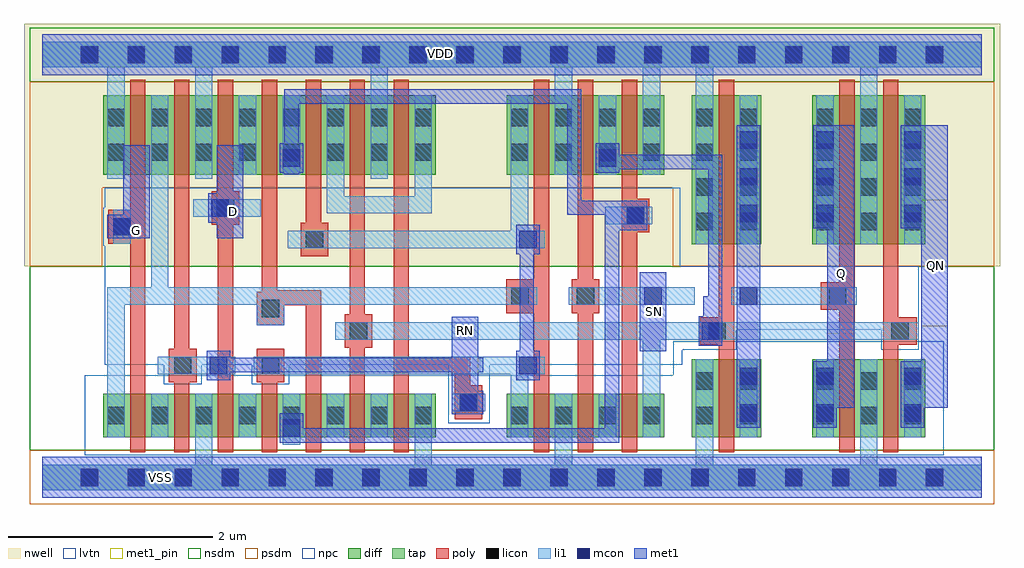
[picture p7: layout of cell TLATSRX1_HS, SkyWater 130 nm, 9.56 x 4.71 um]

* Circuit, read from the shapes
.subckt TLATSRX1_HS D G Q QN RN SN VDD VSS
XM1 n1 G n2 VSS sky130_fd_pr__nfet_01v8_lvt w=0.425 l=0.15
XM2 VSS RN n1 VSS sky130_fd_pr__nfet_01v8_lvt w=0.425 l=0.15
XM3 n3 D VSS VSS sky130_fd_pr__nfet_01v8_lvt w=0.425 l=0.15
XM4 n4 n5 n3 VSS sky130_fd_pr__nfet_01v8_lvt w=0.425 l=0.15
XM5 n6 n2 n4 VSS sky130_fd_pr__nfet_01v8_lvt w=0.425 l=0.15
XM6 n7 n8 n6 VSS sky130_fd_pr__nfet_01v8_lvt w=0.425 l=0.15
XM7 VSS RN n7 VSS sky130_fd_pr__nfet_01v8_lvt w=0.425 l=0.15
XM8 VSS n2 n5 VSS sky130_fd_pr__nfet_01v8_lvt w=0.425 l=0.15
XM9 n9 SN VSS VSS sky130_fd_pr__nfet_01v8_lvt w=0.425 l=0.15
XM10 n8 n4 n9 VSS sky130_fd_pr__nfet_01v8_lvt w=0.425 l=0.15
XM11 n10 n8 VSS VSS sky130_fd_pr__nfet_01v8_lvt w=0.76 l=0.15
XM12 VSS n10 Q VSS sky130_fd_pr__nfet_01v8_lvt w=0.76 l=0.15
XM13 QN n8 VSS VSS sky130_fd_pr__nfet_01v8_lvt w=0.76 l=0.15
XM14 n2 G VDD VDD sky130_fd_pr__pfet_01v8 w=0.78 l=0.15
XM15 VDD RN n2 VDD sky130_fd_pr__pfet_01v8 w=0.78 l=0.15
XM16 n11 D VDD VDD sky130_fd_pr__pfet_01v8 w=0.78 l=0.15
XM17 n4 n2 n11 VDD sky130_fd_pr__pfet_01v8 w=0.78 l=0.15
XM18 n12 n5 n4 VDD sky130_fd_pr__pfet_01v8 w=0.78 l=0.15
XM19 VDD n8 n12 VDD sky130_fd_pr__pfet_01v8 w=0.78 l=0.15
XM20 n12 RN VDD VDD sky130_fd_pr__pfet_01v8 w=0.78 l=0.15
XM21 VDD n2 n5 VDD sky130_fd_pr__pfet_01v8 w=0.78 l=0.15
XM22 n8 SN VDD VDD sky130_fd_pr__pfet_01v8 w=0.78 l=0.15
XM23 VDD n4 n8 VDD sky130_fd_pr__pfet_01v8 w=0.78 l=0.15
XM24 n10 n8 VDD VDD sky130_fd_pr__pfet_01v8 w=1.46 l=0.15
XM25 VDD n10 Q VDD sky130_fd_pr__pfet_01v8 w=1.46 l=0.15
XM26 QN n8 VDD VDD sky130_fd_pr__pfet_01v8 w=1.46 l=0.15
.ends

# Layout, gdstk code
from math import pi, radians
import gdstk
lib = gdstk.Library(unit=1e-6, precision=1e-09)
def R(c, l, rs):  # rectangles x0, y0, x1, y1
    for r in rs: c.add(gdstk.rectangle(r[:2], r[2:], *l))
def A(c, l, x, y, w, h, nx, ny, dx, dy):  # array of equal rectangles
    R(c, l, [(x+i*dx, y+j*dy, x+i*dx+w, y+j*dy+h) for i in range(nx) for j in range(ny)])
def P(c, l, *ps):  # polygons
    for p in ps: c.add(gdstk.Polygon(p, *l))
nwell = (64, 20)
diff = (65, 20)
tap = (65, 44)
poly = (66, 20)
licon = (66, 44)
li1 = (67, 20)
mcon = (67, 44)
met1_pin = (68, 16)
met1 = (68, 20)
nsdm = (93, 44)
psdm = (94, 20)
npc = (95, 20)
lvtn = (125, 44)

pyl1con_c_cdns_758729172 = lib.new_cell('PYL1CON_C_CDNS_758729172862')
R(pyl1con_c_cdns_758729172, poly, [(-0.135,-0.165,0.135,0.165)])
R(pyl1con_c_cdns_758729172, licon, [(-0.085,-0.085,0.085,0.085)])
R(pyl1con_c_cdns_758729172, npc, [(-0.185,-0.185,0.185,0.185)])

l1m1_c_cdns_758729172861 = lib.new_cell('L1M1_C_CDNS_758729172861')
R(l1m1_c_cdns_758729172861, li1, [(-0.085,-0.165,0.085,0.165)])
R(l1m1_c_cdns_758729172861, mcon, [(-0.085,-0.085,0.085,0.085)])
R(l1m1_c_cdns_758729172861, met1, [(-0.115,-0.145,0.115,0.145)])

l1m1_c_cdns_758729172860 = lib.new_cell('L1M1_C_CDNS_758729172860')
R(l1m1_c_cdns_758729172860, li1, [(-0.165,-0.085,0.165,0.085)])
R(l1m1_c_cdns_758729172860, mcon, [(-0.085,-0.085,0.085,0.085)])
R(l1m1_c_cdns_758729172860, met1, [(-0.115,-0.145,0.115,0.145)])

c_l1m1_c_cdns_758729172861 = lib.new_cell('L1M1_C_CDNS_7587291728613')
R(c_l1m1_c_cdns_758729172861, li1, [(-0.085,-0.525,0.085,0.525)])
A(c_l1m1_c_cdns_758729172861, mcon, -0.085, -0.445, 0.17, 0.17, 1, 3, 0, 0.36)
R(c_l1m1_c_cdns_758729172861, met1, [(-0.115,-0.505,0.115,0.505)])

l1m1_c_cdns_758729172864 = lib.new_cell('L1M1_C_CDNS_758729172864')
R(l1m1_c_cdns_758729172864, li1, [(-0.085,-0.345,0.085,0.345)])
R(l1m1_c_cdns_758729172864, mcon, [(-0.085,-0.265,0.085,-0.095), (-0.085,0.095,0.085,0.265)])
R(l1m1_c_cdns_758729172864, met1, [(-0.115,-0.325,0.115,0.325)])

tlatsrx1_hs = lib.new_cell('TLATSRX1_HS')
R(tlatsrx1_hs, nwell, [(-0.18,2.07,9.38,4.445)])
R(tlatsrx1_hs, diff, [(0.595,0.395,3.855,0.82), (4.55,0.395,6.09,0.82), (6.36,0.395,7.04,1.155), (7.54,0.395,8.65,1.155), (6.36,2.285,7.04,3.745), (7.54,2.285,8.65,3.745), (0.595,2.965,3.855,3.745), (4.55,2.965,6.09,3.745)])
A(tlatsrx1_hs, poly, 4.815, 0.245, 0.15, 3.65, 3, 1, 0.43, 0)
R(tlatsrx1_hs, poly, [(0.86,0.245,1.01,3.895), (1.29,0.245,1.44,0.97), (1.72,0.245,1.87,3.895), (2.15,0.245,2.3,0.97), (3.01,0.245,3.16,3.895), (6.625,0.245,6.775,3.895), (7.805,0.245,7.955,3.895), (8.235,0.245,8.385,1.305), (1.29,1.11,1.44,3.895), (8.235,1.445,8.385,3.895), (2.58,2.465,2.73,3.895)])
P(tlatsrx1_hs, poly, [(2.73,1.835),(2.3,1.835),(2.3,3.895),(2.15,3.895),(2.15,1.685),(2.58,1.685),(2.58,0.245),(2.73,0.245)],
  [(4.19,1.18),(3.59,1.18),(3.59,3.895),(3.44,3.895),(3.44,0.245),(3.59,0.245),(3.59,1.03),(4.04,1.03),(4.04,0.645),(4.19,0.645)])
A(tlatsrx1_hs, licon, 0.375, -0.085, 0.17, 0.17, 19, 2, 0.46, 4.14)
A(tlatsrx1_hs, licon, 0.635, 0.52, 0.17, 0.17, 8, 2, 0.43, 2.58)
A(tlatsrx1_hs, licon, 4.59, 0.52, 0.17, 0.17, 4, 2, 0.43, 2.58)
A(tlatsrx1_hs, licon, 7.58, 0.52, 0.17, 0.17, 3, 2, 0.43, 0.34)
A(tlatsrx1_hs, licon, 6.4, 2.42, 0.17, 0.17, 1, 4, 0, 0.34)
A(tlatsrx1_hs, licon, 6.83, 2.42, 0.17, 0.17, 1, 4, 0, 0.34)
A(tlatsrx1_hs, licon, 7.58, 2.42, 0.17, 0.17, 3, 4, 0.43, 0.34)
A(tlatsrx1_hs, licon, 0.635, 3.44, 0.17, 0.17, 8, 1, 0.43, 0)
A(tlatsrx1_hs, licon, 4.59, 3.44, 0.17, 0.17, 4, 1, 0.43, 0)
R(tlatsrx1_hs, licon, [(6.4,0.52,6.57,0.69), (6.83,0.52,7,0.69), (6.4,0.86,6.57,1.03), (6.83,0.86,7,1.03)])
A(tlatsrx1_hs, li1, 1.925, 0.395, 0.17, 0.425, 4, 1, 0.43, 0)
R(tlatsrx1_hs, li1, [(1.065,0.395,1.235,0.82), (5.45,0.395,5.62,0.82), (6.83,0.395,7,1.155), (7.58,0.395,7.75,1.155), (8.44,0.395,8.61,1.155), (6.83,2.285,7,3.745), (7.58,2.285,7.75,3.745), (8.44,2.285,8.61,3.745), (1.925,2.965,2.095,3.745), (2.355,2.965,2.525,3.745), (5.45,2.965,5.62,3.745)])
P(tlatsrx1_hs, li1, [(3.815,3.745),(3.645,3.745),(3.645,2.755),(2.955,2.755),(2.955,3.745),(2.785,3.745),(2.785,2.585),(3.815,2.585)],
  [(4.76,3.745),(4.59,3.745),(4.59,2.415),(2.405,2.415),(2.405,2.245),(4.7,2.245),(4.7,2.32),(4.76,2.32)],
  [(4.76,1.18),(2.07,1.18),(2.07,1.01),(4.59,1.01),(4.59,0.395),(4.76,0.395)],
  [(4.845,1.86),(1.235,1.86),(1.235,3.745),(1.065,3.745),(1.065,1.86),(0.635,1.86),(0.635,0.395),(0.805,0.395),(0.805,1.69),(2.1,1.69),(2.1,1.49),(2.37,1.49),(2.37,1.69),(4.845,1.69)],
  [(8.585,1.52),(2.87,1.52),(2.87,1.35),(5.88,1.35),(5.88,0.395),(6.05,0.395),(6.05,1.35),(8.585,1.35)],
  [(9.2,4.265),(0,4.265),(0,4.015),(0.635,4.015),(0.635,2.925),(0.805,2.925),(0.805,4.015),(1.495,4.015),(1.495,2.925),(1.665,2.925),(1.665,4.015),(3.215,4.015),(3.215,2.925),(3.385,2.925),(3.385,4.015),(5.02,4.015),(5.02,2.965),(5.19,2.965),(5.19,4.015),(5.88,4.015),(5.88,2.965),(6.05,2.965),(6.05,4.015),(6.4,4.015),(6.4,2.285),(6.57,2.285),(6.57,4.015),(8.01,4.015),(8.01,2.285),(8.18,2.285),(8.18,4.015),(9.2,4.015)],
  [(9.2,0.125),(8.18,0.125),(8.18,1.155),(8.01,1.155),(8.01,0.125),(6.57,0.125),(6.57,1.155),(6.4,1.155),(6.4,0.125),(5.19,0.125),(5.19,0.82),(5.02,0.82),(5.02,0.125),(3.815,0.125),(3.815,0.82),(3.645,0.82),(3.645,0.125),(1.665,0.125),(1.665,0.82),(1.495,0.82),(1.495,0.125),(0,0.125),(0,-0.125),(9.2,-0.125)])
A(tlatsrx1_hs, mcon, 0.375, -0.085, 0.17, 0.17, 19, 2, 0.46, 4.14)
R(tlatsrx1_hs, met1_pin, [(4.01,0.635,4.27,1.575), (5.85,1.235,6.11,2.01), (7.69,1.405,7.95,2.645), (8.61,1.48,8.87,2.72), (0.79,2.34,1.05,3.255), (1.71,2.34,1.97,3.255)])
R(tlatsrx1_hs, met1, [(0,-0.2,9.2,0.2), (7.69,0.68,7.95,3.45), (8.61,0.68,8.87,3.45), (5.85,1.235,6.11,2.01), (1.71,2.34,1.97,3.255), (0,3.94,9.2,4.34)])
P(tlatsrx1_hs, met1, [(4.32,1.17),(4.27,1.17),(4.27,1.575),(4.01,1.575),(4.01,1.17),(1.7,1.17),(1.7,1.03),(4.01,1.03),(4.01,0.62),(4.27,0.62),(4.27,1.03),(4.32,1.03)],
  [(5.695,2.71),(5.28,2.71),(5.28,3.8),(2.37,3.8),(2.37,2.97),(2.51,2.97),(2.51,3.66),(5.14,3.66),(5.14,2.57),(5.51,2.57),(5.51,0.48),(2.37,0.48),(2.37,0.34),(5.65,0.34),(5.65,2.42),(5.695,2.42)],
  [(6.66,3.16),(5.605,3.16),(5.605,3.165),(5.465,3.165),(5.465,3.02),(6.52,3.02),(6.52,1.775),(6.475,1.775),(6.475,1.435),(6.615,1.435),(6.615,1.455),(6.66,1.455)])
R(tlatsrx1_hs, nsdm, [(-0.125,0.265,9.325,2.07), (-0.125,3.875,9.325,4.405)])
R(tlatsrx1_hs, psdm, [(-0.125,-0.265,9.325,0.265)])
P(tlatsrx1_hs, psdm, [(9.325,3.875),(-0.125,3.875),(-0.125,2.07),(0.585,2.07),(0.585,2.835),(6.175,2.835),(6.175,2.07),(9.325,2.07)])
P(tlatsrx1_hs, npc, [(8.585,2.07),(6.25,2.07),(6.25,2.835),(0.61,2.835),(0.61,1.105),(3.975,1.105),(3.975,0.53),(4.38,0.53),(4.38,1.105),(6.27,1.105),(6.27,1.25),(6.795,1.25),(6.795,1.445),(8.585,1.445)])
P(tlatsrx1_hs, lvtn, [(8.83,1.335),(6.18,1.335),(6.18,1),(0.415,1),(0.415,0.215),(8.83,0.215)])
tlatsrx1_hs.add(gdstk.FlexPath([(1.48,2.64),(2.14,2.64)], 0.17, ends="flush", simple_path=True, layer=67, datatype=20))  # li1
tlatsrx1_hs.add(gdstk.FlexPath([(1.13,1.095),(1.77,1.095)], 0.17, ends="flush", simple_path=True, layer=67, datatype=20))  # li1
tlatsrx1_hs.add(gdstk.FlexPath([(6.925,1.775),(7.975,1.775)], 0.17, ends="flush", simple_path=True, layer=67, datatype=20))  # li1
tlatsrx1_hs.add(gdstk.FlexPath([(5.515,2.565),(5.68,2.565)], 0.17, ends="flush", simple_path=True, layer=67, datatype=20))  # li1
tlatsrx1_hs.add(gdstk.FlexPath([(5.155,1.775),(6.39,1.775)], 0.17, ends="flush", simple_path=True, layer=67, datatype=20))  # li1
tlatsrx1_hs.add(gdstk.FlexPath([(0,4.14),(9.2,4.14)], 0.25, ends="flush", simple_path=True, layer=65, datatype=44))  # tap
tlatsrx1_hs.add(gdstk.FlexPath([(0,0),(9.2,0)], 0.25, ends="flush", simple_path=True, layer=65, datatype=44))  # tap
tlatsrx1_hs.add(gdstk.FlexPath([(4.745,2.475),(4.745,1.225)], 0.14, ends="flush", simple_path=True, layer=68, datatype=20))  # met1
tlatsrx1_hs.add(gdstk.FlexPath([(6.915,0.68),(6.915,3.45)], 0.23, ends="flush", simple_path=True, layer=68, datatype=20))  # met1
tlatsrx1_hs.add(gdstk.FlexPath([(0.92,2.34),(0.92,3.255)], 0.26, ends="flush", simple_path=True, layer=68, datatype=20))  # met1
tlatsrx1_hs.add(gdstk.FlexPath([(0,4.14),(9.2,4.14)], 0.4, ends="flush", simple_path=True, layer=68, datatype=16))  # met1_pin
tlatsrx1_hs.add(gdstk.FlexPath([(0,0),(9.2,0)], 0.4, ends="flush", simple_path=True, layer=68, datatype=16))  # met1_pin
tlatsrx1_hs.add(gdstk.Reference(pyl1con_c_cdns_758729172, (6.61,1.435), rotation=pi/2, x_reflection=True))
tlatsrx1_hs.add(gdstk.Reference(pyl1con_c_cdns_758729172, (4.175,0.735), rotation=pi))
tlatsrx1_hs.add(gdstk.Reference(pyl1con_c_cdns_758729172, (4.68,1.775), rotation=pi, x_reflection=True))
tlatsrx1_hs.add(gdstk.Reference(pyl1con_c_cdns_758729172, (2.235,1.655), x_reflection=True))
tlatsrx1_hs.add(gdstk.Reference(pyl1con_c_cdns_758729172, (2.235,1.095), x_reflection=True))
tlatsrx1_hs.add(gdstk.Reference(pyl1con_c_cdns_758729172, (8.4,1.435), rotation=pi/2, x_reflection=True))
tlatsrx1_hs.add(gdstk.Reference(pyl1con_c_cdns_758729172, (7.79,1.775), rotation=pi/2, x_reflection=True))
tlatsrx1_hs.add(gdstk.Reference(pyl1con_c_cdns_758729172, (2.665,2.33), rotation=pi))
tlatsrx1_hs.add(gdstk.Reference(pyl1con_c_cdns_758729172, (5.32,1.775), rotation=pi, x_reflection=True))
tlatsrx1_hs.add(gdstk.Reference(pyl1con_c_cdns_758729172, (1.795,2.64), x_reflection=True))
tlatsrx1_hs.add(gdstk.Reference(pyl1con_c_cdns_758729172, (1.375,1.095), rotation=pi))
tlatsrx1_hs.add(gdstk.Reference(pyl1con_c_cdns_758729172, (5.81,2.565), x_reflection=True))
tlatsrx1_hs.add(gdstk.Reference(pyl1con_c_cdns_758729172, (3.095,1.435), rotation=pi))
tlatsrx1_hs.add(gdstk.Reference(pyl1con_c_cdns_758729172, (0.78,2.455), x_reflection=True))
tlatsrx1_hs.add(gdstk.Reference(l1m1_c_cdns_758729172861, (2.44,3.13), rotation=pi, x_reflection=True))
tlatsrx1_hs.add(gdstk.Reference(l1m1_c_cdns_758729172861, (2.44,0.485), rotation=pi, x_reflection=True))
tlatsrx1_hs.add(gdstk.Reference(l1m1_c_cdns_758729172861, (5.535,3.13), rotation=pi, x_reflection=True))
tlatsrx1_hs.add(gdstk.Reference(l1m1_c_cdns_758729172861, (4.175,0.735), rotation=pi/2))
tlatsrx1_hs.add(gdstk.Reference(l1m1_c_cdns_758729172860, (4.755,2.33), rotation=pi, x_reflection=True))
tlatsrx1_hs.add(gdstk.Reference(l1m1_c_cdns_758729172860, (6.545,1.435)))
tlatsrx1_hs.add(gdstk.Reference(l1m1_c_cdns_758729172860, (1.74,2.64), x_reflection=True))
tlatsrx1_hs.add(gdstk.Reference(l1m1_c_cdns_758729172860, (4.755,1.095), rotation=pi, x_reflection=True))
tlatsrx1_hs.add(gdstk.Reference(l1m1_c_cdns_758729172860, (5.98,1.775), x_reflection=True))
tlatsrx1_hs.add(gdstk.Reference(l1m1_c_cdns_758729172860, (1.725,1.095), x_reflection=True))
tlatsrx1_hs.add(gdstk.Reference(l1m1_c_cdns_758729172860, (5.81,2.565)))
tlatsrx1_hs.add(gdstk.Reference(l1m1_c_cdns_758729172860, (6.915,1.775), x_reflection=True))
tlatsrx1_hs.add(gdstk.Reference(l1m1_c_cdns_758729172860, (0.78,2.455), rotation=3*pi/2, x_reflection=True))
tlatsrx1_hs.add(gdstk.Reference(c_l1m1_c_cdns_758729172861, (7.665,2.945)))
tlatsrx1_hs.add(gdstk.Reference(c_l1m1_c_cdns_758729172861, (8.525,2.945)))
tlatsrx1_hs.add(gdstk.Reference(c_l1m1_c_cdns_758729172861, (6.915,2.945)))
tlatsrx1_hs.add(gdstk.Reference(l1m1_c_cdns_758729172864, (7.665,0.81)))
tlatsrx1_hs.add(gdstk.Reference(l1m1_c_cdns_758729172864, (8.525,0.81)))
tlatsrx1_hs.add(gdstk.Reference(l1m1_c_cdns_758729172864, (6.915,0.81)))
tlatsrx1_hs.add(gdstk.Label('VSS', (1.16,-0.005), layer=68, texttype=5))
tlatsrx1_hs.add(gdstk.Label('RN', (4.14,1.435), layer=68, texttype=5))
tlatsrx1_hs.add(gdstk.Label('Q', (7.832,1.999), layer=68, texttype=5))
tlatsrx1_hs.add(gdstk.Label('QN', (8.752,2.074), layer=68, texttype=5))
tlatsrx1_hs.add(gdstk.Label('G', (0.922,2.414), layer=68, texttype=5))
tlatsrx1_hs.add(gdstk.Label('D', (1.875,2.6), layer=68, texttype=5))
tlatsrx1_hs.add(gdstk.Label('VDD', (3.9,4.15), layer=68, texttype=5))
tlatsrx1_hs.add(gdstk.Label('SN', (5.997,1.624), layer=68, texttype=5))

lib.write_gds('TLATSRX1_HS.gds')
